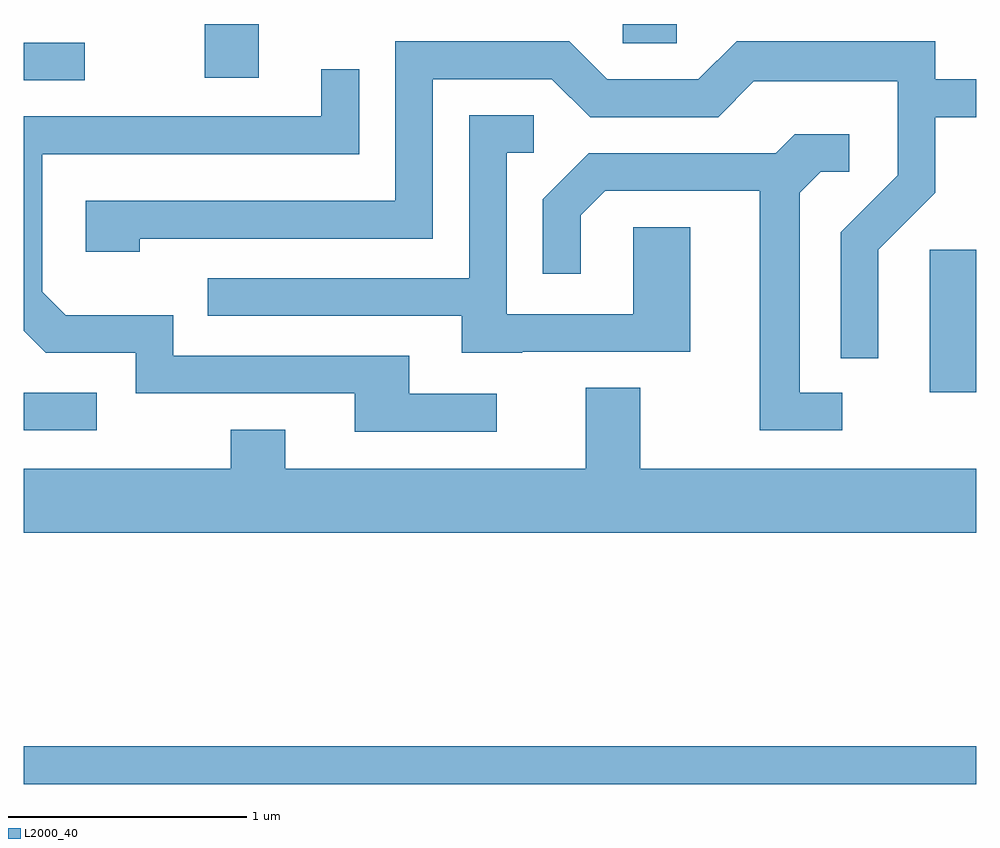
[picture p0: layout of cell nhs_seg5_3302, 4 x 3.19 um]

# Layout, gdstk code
import gdstk
lib = gdstk.Library(unit=1e-6, precision=1e-09)
def R(c, l, rs):  # rectangles x0, y0, x1, y1
    for r in rs: c.add(gdstk.rectangle(r[:2], r[2:], *l))
def P(c, l, *ps):  # polygons
    for p in ps: c.add(gdstk.Polygon(p, *l))
L2000_40 = (2000, 40)

nhs_seg5_3302 = lib.new_cell('nhs_seg5_3302')
R(nhs_seg5_3302, L2000_40, [(283.611,1426.881,287.611,1427.039), (283.611,1428.366,283.918,1428.524), (287.416,1428.526,287.611,1429.124), (283.611,1429.836,283.868,1429.994), (284.371,1429.846,284.599,1430.072), (286.126,1429.991,286.354,1430.072)])
P(nhs_seg5_3302, L2000_40, [(287.199,1429.124),(287.439,1429.364),(287.439,1429.681),(287.611,1429.681),(287.611,1429.839),(287.439,1429.839),(287.439,1429.999),(286.604,1429.999),(286.444,1429.839),(286.062,1429.839),(285.902,1429.999),(285.171,1429.999),(285.171,1429.329),(283.871,1429.329),(283.871,1429.116),(284.099,1429.116),(284.099,1429.171),(285.329,1429.171),(285.329,1429.841),(285.829,1429.841),(285.989,1429.681),(286.527,1429.681),(286.677,1429.831),(287.281,1429.831),(287.281,1429.437),(287.041,1429.197),(287.041,1428.668),(287.199,1428.668)],
  [(285.598,1428.519),(285.229,1428.519),(285.229,1428.679),(284.239,1428.679),(284.239,1428.849),(283.787,1428.849),(283.689,1428.947),(283.689,1429.526),(285.019,1429.526),(285.019,1429.883),(284.861,1429.883),(284.861,1429.684),(283.611,1429.684),(283.611,1428.784),(283.704,1428.691),(284.081,1428.691),(284.081,1428.521),(285.001,1428.521),(285.001,1428.361),(285.598,1428.361)],
  [(285.705,1428.696),(286.409,1428.696),(286.409,1429.219),(286.171,1429.219),(286.171,1428.854),(285.639,1428.854),(285.639,1429.531),(285.753,1429.531),(285.753,1429.689),(285.481,1429.689),(285.481,1429.004),(284.383,1429.004),(284.383,1428.846),(285.451,1428.846),(285.451,1428.691),(285.705,1428.691)],
  [(287.048,1428.524),(286.869,1428.524),(286.869,1429.364),(286.957,1429.451),(287.078,1429.451),(287.078,1429.609),(286.849,1429.609),(286.769,1429.529),(285.984,1429.529),(285.791,1429.337),(285.791,1429.023),(285.949,1429.023),(285.949,1429.269),(286.052,1429.371),(286.701,1429.371),(286.701,1428.366),(287.048,1428.366)],
  [(287.611,1428.204),(286.199,1428.204),(286.199,1428.544),(285.971,1428.544),(285.971,1428.204),(284.709,1428.204),(284.709,1428.369),(284.481,1428.369),(284.481,1428.204),(283.611,1428.204),(283.611,1427.936),(287.611,1427.936)])

lib.write_gds('nhs_seg5_3302.gds')
